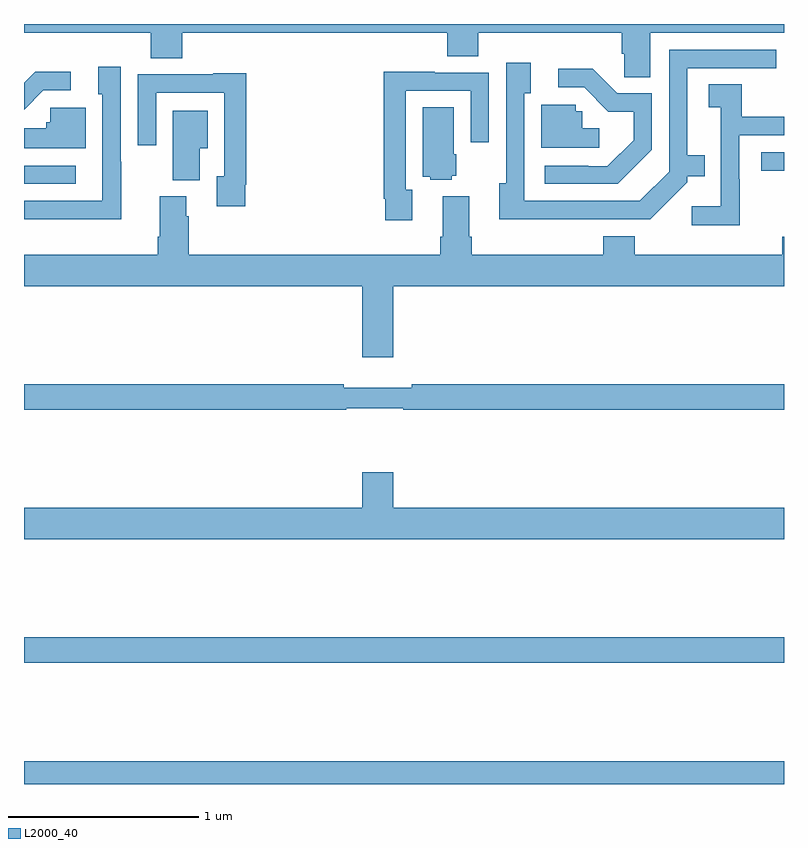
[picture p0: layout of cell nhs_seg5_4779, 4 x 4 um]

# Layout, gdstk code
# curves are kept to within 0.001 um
import gdstk
lib = gdstk.Library(unit=1e-6, precision=1e-09)
def R(c, l, rs):  # rectangles x0, y0, x1, y1
    for r in rs: c.add(gdstk.rectangle(r[:2], r[2:], *l))
def P(c, l, *ps):  # polygons
    for p in ps: c.add(gdstk.Polygon(p, *l))
L2000_40 = (2000, 40)

nhs_seg5_4779 = lib.new_cell('nhs_seg5_4779')
R(nhs_seg5_4779, L2000_40, [(391,860.799,395,860.92), (391,861.436,395,861.572), (391,863.958,391.273,864.054), (394.881,864.027,395,864.123)])
P(nhs_seg5_4779, L2000_40, [(394.297,864.752),(395,864.752),(395,864.799),(391,864.799),(391,864.752),(391.667,864.752),(391.667,864.619),(391.832,864.619),(391.832,864.752),(393.227,864.752),(393.227,864.628),(393.392,864.628),(393.392,864.752),(394.145,864.752),(394.145,864.642),(394.159,864.642),(394.159,864.52),(394.297,864.52)],
  [(393.965,863.772),(394.296,863.772),(394.491,863.967),(394.491,863.999),(394.583,863.999),(394.583,864.109),(394.492,864.109),(394.492,864.567),(394.96,864.567),(394.96,864.663),(394.395,864.663),(394.395,864.021),(394.242,863.868),(393.633,863.868),(393.633,864.434),(393.667,864.434),(393.667,864.595),(393.537,864.595),(393.537,863.962),(393.5,863.962),(393.5,863.771)],
  [(391.511,864.074),(391.509,864.074),(391.509,864.574),(391.391,864.574),(391.391,864.429),(391.413,864.429),(391.413,863.868),(391,863.868),(391,863.772),(391.048,863.772),(391.048,863.771),(391.511,863.771)],
  [(394.305,864.137),(394.305,864.435),(394.122,864.435),(393.994,864.563),(393.813,864.563),(393.813,864.465),(393.948,864.465),(394.075,864.338),(394.208,864.338),(394.208,864.188),(394.071,864.051),(393.971,864.051),(393.971,864.054),(393.741,864.054),(393.741,863.958),(394.126,863.958)],
  [(391.101,864.45),(391.246,864.45),(391.246,864.548),(391.058,864.548),(391,864.49),(391,864.349)],
  [(393.043,863.927),(393.009,863.927),(393.009,864.447),(393.351,864.447),(393.351,864.177),(393.447,864.177),(393.447,864.543),(393.163,864.543),(393.163,864.547),(392.893,864.547),(392.893,863.878),(392.901,863.878),(392.901,863.766),(393.043,863.766)],
  [(392.164,863.953),(392.171,863.953),(392.171,864.541),(391.995,864.541),(391.995,864.534),(391.599,864.534),(391.599,864.162),(391.695,864.162),(391.695,864.438),(392.055,864.438),(392.055,863.997),(392.015,863.997),(392.015,863.841),(392.164,863.841)],
  [(394.767,863.981),(394.764,863.981),(394.764,864.213),(395,864.213),(395,864.312),(394.777,864.312),(394.777,864.482),(394.605,864.482),(394.605,864.361),(394.668,864.361),(394.668,863.839),(394.515,863.839),(394.515,863.741),(394.767,863.741)],
  [(394.027,864.25),(393.939,864.25),(393.939,864.339),(393.903,864.339),(393.903,864.375),(393.722,864.375),(393.722,864.147),(394.027,864.147)],
  [(393.252,864),(393.274,864),(393.274,864.114),(393.262,864.114),(393.262,864.362),(393.098,864.362),(393.098,863.996),(393.138,863.996),(393.138,863.978),(393.252,863.978)],
  [(391.324,864.357),(391.137,864.357),(391.137,864.282),(391.118,864.282),(391.118,864.25),(391,864.25),(391,864.146),(391.324,864.146)],
  [(391.924,864.146),(391.966,864.146),(391.966,864.343),(391.784,864.343),(391.784,863.977),(391.924,863.977)],
  [(392.944,863.42),(395,863.42),(395,863.68),(394.991,863.68),(394.991,863.584),(394.214,863.584),(394.214,863.683),(394.049,863.683),(394.049,863.584),(393.356,863.584),(393.356,863.68),(393.343,863.68),(393.343,863.893),(393.203,863.893),(393.203,863.68),(393.191,863.68),(393.191,863.584),(391.868,863.584),(391.868,863.786),(391.855,863.786),(391.855,863.892),(391.715,863.892),(391.715,863.68),(391.703,863.68),(391.703,863.584),(391,863.584),(391,863.42),(392.78,863.42),(392.78,863.046),(392.944,863.046)],
  [(392.696,862.776),(392.996,862.776),(392.996,862.768),(395,862.768),(395,862.904),(393.04,862.904),(393.04,862.885),(392.684,862.885),(392.684,862.904),(391,862.904),(391,862.768),(392.696,862.768)],
  [(395,862.252),(392.944,862.252),(392.944,862.441),(392.78,862.441),(392.78,862.252),(391,862.252),(391,862.088),(395,862.088)])

lib.write_gds('nhs_seg5_4779.gds')
